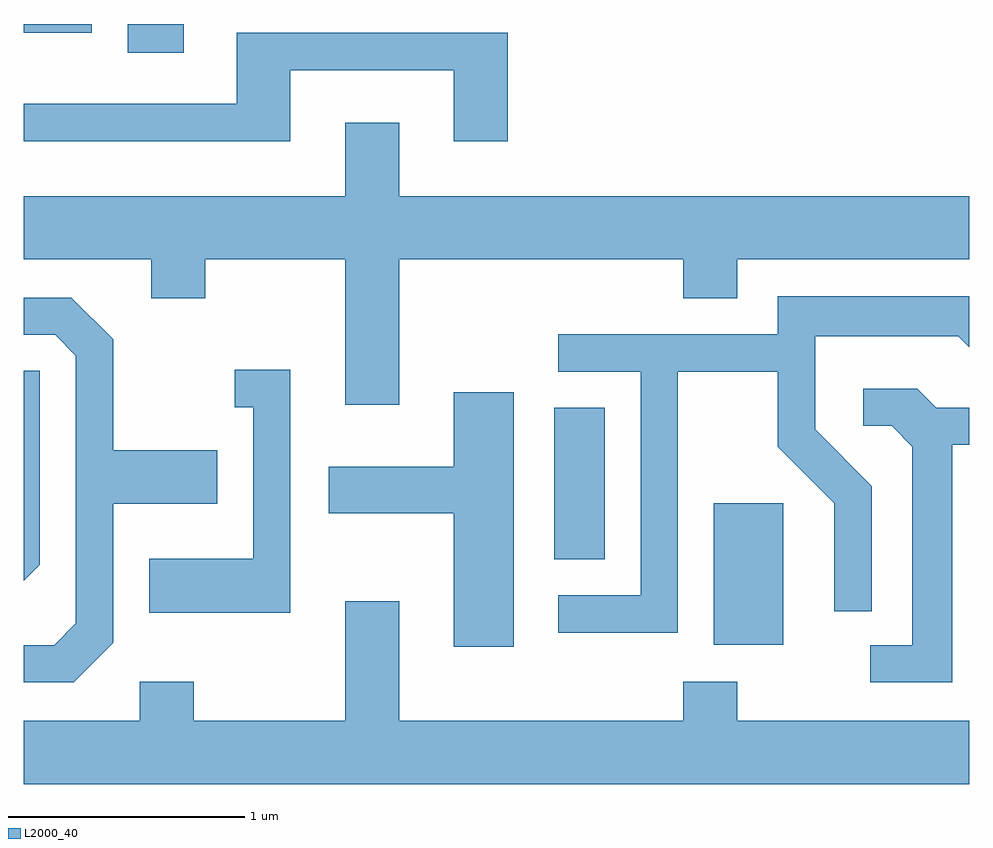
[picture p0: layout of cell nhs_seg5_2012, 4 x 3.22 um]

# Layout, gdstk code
import gdstk
lib = gdstk.Library(unit=1e-6, precision=1e-09)
def R(c, l, rs):  # rectangles x0, y0, x1, y1
    for r in rs: c.add(gdstk.rectangle(r[:2], r[2:], *l))
def P(c, l, *ps):  # polygons
    for p in ps: c.add(gdstk.Polygon(p, *l))
L2000_40 = (2000, 40)

nhs_seg5_2012 = lib.new_cell('nhs_seg5_2012')
R(nhs_seg5_2012, L2000_40, [(248.531,1397.446,248.824,1398.044), (247.856,1397.806,248.069,1398.449), (246.051,1399.951,246.288,1400.072), (245.611,1400.036,245.899,1400.072)])
P(nhs_seg5_2012, L2000_40, [(246.739,1399.876),(247.431,1399.876),(247.431,1399.576),(247.659,1399.576),(247.659,1400.034),(246.511,1400.034),(246.511,1399.734),(245.611,1399.734),(245.611,1399.576),(246.739,1399.576)],
  [(247.199,1399.076),(248.401,1399.076),(248.401,1398.911),(248.629,1398.911),(248.629,1399.076),(249.611,1399.076),(249.611,1399.344),(247.199,1399.344),(247.199,1399.654),(246.971,1399.654),(246.971,1399.344),(245.611,1399.344),(245.611,1399.076),(246.151,1399.076),(246.151,1398.911),(246.379,1398.911),(246.379,1399.076),(246.971,1399.076),(246.971,1398.461),(247.199,1398.461)],
  [(248.379,1398.601),(248.801,1398.601),(248.801,1398.284),(249.041,1398.044),(249.041,1397.588),(249.199,1397.588),(249.199,1398.117),(248.959,1398.357),(248.959,1398.751),(249.564,1398.751),(249.611,1398.704),(249.611,1398.919),(248.801,1398.919),(248.801,1398.759),(247.873,1398.759),(247.873,1398.601),(248.221,1398.601),(248.221,1397.654),(247.873,1397.654),(247.873,1397.496),(248.379,1397.496)],
  [(245.989,1397.454),(245.989,1398.041),(246.429,1398.041),(246.429,1398.269),(245.989,1398.269),(245.989,1398.737),(245.812,1398.914),(245.611,1398.914),(245.611,1398.756),(245.744,1398.756),(245.831,1398.669),(245.831,1397.537),(245.739,1397.444),(245.611,1397.444),(245.611,1397.286),(245.822,1397.286)],
  [(246.739,1398.609),(246.503,1398.609),(246.503,1398.451),(246.581,1398.451),(246.581,1397.809),(246.141,1397.809),(246.141,1397.581),(246.739,1397.581)],
  [(245.679,1397.784),(245.679,1398.604),(245.611,1398.604),(245.611,1397.716)],
  [(249.539,1398.291),(249.611,1398.291),(249.611,1398.449),(249.472,1398.449),(249.392,1398.529),(249.163,1398.529),(249.163,1398.371),(249.284,1398.371),(249.371,1398.284),(249.371,1397.444),(249.193,1397.444),(249.193,1397.286),(249.539,1397.286)],
  [(247.684,1398.514),(247.431,1398.514),(247.431,1398.199),(246.901,1398.199),(246.901,1398.001),(247.431,1398.001),(247.431,1397.436),(247.684,1397.436)],
  [(249.611,1397.124),(248.629,1397.124),(248.629,1397.289),(248.401,1397.289),(248.401,1397.124),(247.199,1397.124),(247.199,1397.629),(246.971,1397.629),(246.971,1397.124),(246.329,1397.124),(246.329,1397.289),(246.101,1397.289),(246.101,1397.124),(245.611,1397.124),(245.611,1396.856),(249.611,1396.856)])

lib.write_gds('nhs_seg5_2012.gds')
